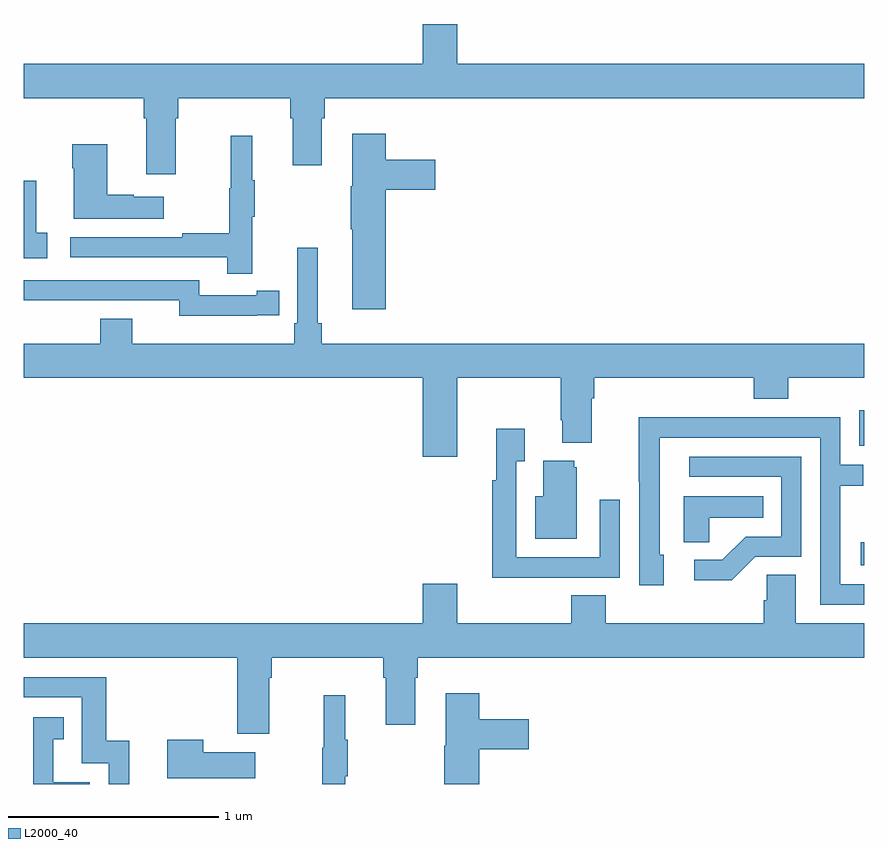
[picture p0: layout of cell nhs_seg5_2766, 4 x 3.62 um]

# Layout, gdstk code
import gdstk
lib = gdstk.Library(unit=1e-6, precision=1e-09)
def R(c, l, rs):  # rectangles x0, y0, x1, y1
    for r in rs: c.add(gdstk.rectangle(r[:2], r[2:], *l))
def P(c, l, *ps):  # polygons
    for p in ps: c.add(gdstk.Polygon(p, *l))
L2000_40 = (2000, 40)

nhs_seg5_2766 = lib.new_cell('nhs_seg5_2766')
R(nhs_seg5_2766, L2000_40, [(274.983,883.841,275,883.951), (274.977,884.409,275,884.578)])
P(nhs_seg5_2766, L2000_40, [(271,886.064),(271.571,886.064),(271.571,885.968),(271.583,885.968),(271.583,885.702),(271.723,885.702),(271.723,885.968),(271.736,885.968),(271.736,886.064),(272.267,886.064),(272.267,885.968),(272.279,885.968),(272.279,885.744),(272.419,885.744),(272.419,885.968),(272.432,885.968),(272.432,886.064),(275,886.064),(275,886.228),(273.064,886.228),(273.064,886.417),(272.9,886.417),(272.9,886.228),(271,886.228)],
  [(272.723,885.629),(272.959,885.629),(272.959,885.771),(272.723,885.771),(272.723,885.895),(272.564,885.895),(272.564,885.645),(272.557,885.645),(272.557,885.439),(272.564,885.439),(272.564,885.06),(272.723,885.06)],
  [(272.087,885.499),(272.098,885.499),(272.098,885.673),(272.087,885.673),(272.087,885.886),(271.984,885.886),(271.984,885.636),(271.977,885.636),(271.977,885.422),(271.753,885.422),(271.753,885.402),(271.221,885.402),(271.221,885.306),(271.969,885.306),(271.969,885.228),(272.087,885.228)],
  [(271.666,885.595),(271.523,885.595),(271.523,885.605),(271.396,885.605),(271.396,885.844),(271.231,885.844),(271.231,885.731),(271.238,885.731),(271.238,885.491),(271.666,885.491)],
  [(271.111,885.423),(271.058,885.423),(271.058,885.67),(271,885.67),(271,885.303),(271.111,885.303)],
  [(273.064,884.732),(273.556,884.732),(273.556,884.53),(273.563,884.53),(273.563,884.423),(273.703,884.423),(273.703,884.636),(273.716,884.636),(273.716,884.732),(274.475,884.732),(274.475,884.633),(274.64,884.633),(274.64,884.732),(275,884.732),(275,884.896),(272.417,884.896),(272.417,884.992),(272.398,884.992),(272.398,885.352),(272.301,885.352),(272.301,884.992),(272.288,884.992),(272.288,884.896),(271.516,884.896),(271.516,885.013),(271.364,885.013),(271.364,884.896),(271,884.896),(271,884.732),(272.9,884.732),(272.9,884.358),(273.064,884.358)],
  [(272.108,885.03),(272.216,885.03),(272.216,885.146),(272.108,885.146),(272.108,885.126),(271.836,885.126),(271.836,885.198),(271,885.198),(271,885.101),(271.28,885.101),(271.28,885.102),(271.74,885.102),(271.74,885.029),(272.108,885.029)],
  [(275,883.749),(274.887,883.749),(274.887,884.218),(274.997,884.218),(274.997,884.319),(274.887,884.319),(274.887,884.544),(274.391,884.544),(274.391,884.546),(273.928,884.546),(273.928,884.239),(273.93,884.239),(273.93,883.746),(274.045,883.746),(274.045,883.89),(274.026,883.89),(274.026,884.448),(274.791,884.448),(274.791,883.653),(275,883.653)],
  [(273.521,883.782),(273.837,883.782),(273.837,884.152),(273.741,884.152),(273.741,883.878),(273.345,883.878),(273.345,884.335),(273.385,884.335),(273.385,884.491),(273.248,884.491),(273.248,884.246),(273.229,884.246),(273.229,883.781),(273.521,883.781)],
  [(274.482,883.881),(274.701,883.881),(274.701,884.358),(274.167,884.358),(274.167,884.262),(274.605,884.262),(274.605,883.977),(274.436,883.977),(274.325,883.866),(274.191,883.866),(274.191,883.769),(274.369,883.769)],
  [(273.631,884.307),(273.62,884.307),(273.62,884.338),(273.473,884.338),(273.473,884.17),(273.434,884.17),(273.434,883.967),(273.631,883.967)],
  [(274.263,884.066),(274.52,884.066),(274.52,884.17),(274.142,884.17),(274.142,883.951),(274.263,883.951)],
  [(272.167,883.304),(272.18,883.304),(272.18,883.4),(272.711,883.4),(272.711,883.304),(272.723,883.304),(272.723,883.08),(272.863,883.08),(272.863,883.304),(272.876,883.304),(272.876,883.4),(275,883.4),(275,883.564),(274.675,883.564),(274.675,883.796),(274.536,883.796),(274.536,883.673),(274.523,883.673),(274.523,883.564),(273.77,883.564),(273.77,883.697),(273.605,883.697),(273.605,883.564),(273.064,883.564),(273.064,883.753),(272.9,883.753),(272.9,883.564),(271,883.564),(271,883.4),(272.015,883.4),(272.015,883.038),(272.167,883.038)],
  [(271.502,883.006),(271.391,883.006),(271.391,883.308),(271,883.308),(271,883.212),(271.275,883.212),(271.275,882.897),(271.404,882.897),(271.404,882.799),(271.502,882.799)],
  [(273.167,882.965),(273.403,882.965),(273.403,883.107),(273.167,883.107),(273.167,883.231),(273.008,883.231),(273.008,882.981),(273.001,882.981),(273.001,882.799),(273.167,882.799)],
  [(272.531,882.835),(272.542,882.835),(272.542,883.009),(272.531,883.009),(272.531,883.222),(272.428,883.222),(272.428,882.972),(272.421,882.972),(272.421,882.799),(272.531,882.799)],
  [(271.314,882.807),(271.141,882.807),(271.141,883.011),(271.19,883.011),(271.19,883.117),(271.044,883.117),(271.044,882.799),(271.314,882.799)],
  [(272.101,882.949),(271.853,882.949),(271.853,883.009),(271.682,883.009),(271.682,882.827),(272.101,882.827)])

lib.write_gds('nhs_seg5_2766.gds')
